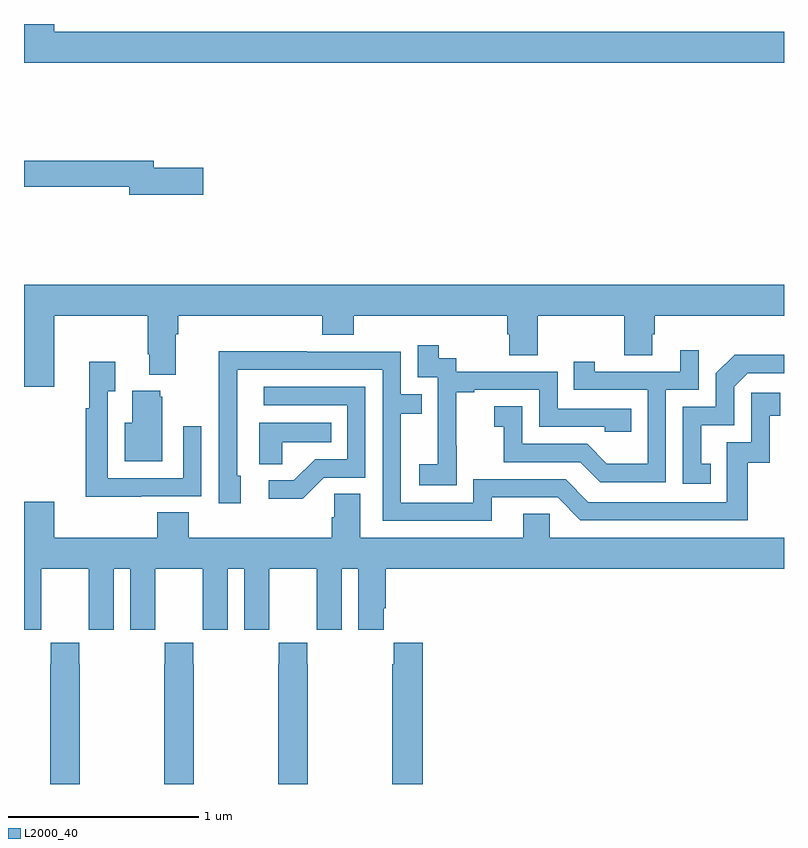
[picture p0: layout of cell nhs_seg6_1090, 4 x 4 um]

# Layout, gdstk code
import gdstk
lib = gdstk.Library(unit=1e-6, precision=1e-09)
def P(c, l, *ps):  # polygons
    for p in ps: c.add(gdstk.Polygon(p, *l))
L2000_40 = (2000, 40)

nhs_seg6_1090 = lib.new_cell('nhs_seg6_1090')
P(nhs_seg6_1090, L2000_40, [(181,987.46),(177.16,987.46),(177.16,987.5),(177,987.5),(177,987.296),(181,987.296)],
  [(177.943,986.744),(177.682,986.744),(177.682,986.78),(177,986.78),(177,986.644),(177.554,986.644),(177.554,986.602),(177.943,986.602)],
  [(177.16,985.964),(177.652,985.964),(177.652,985.762),(177.659,985.762),(177.659,985.655),(177.799,985.655),(177.799,985.868),(177.812,985.868),(177.812,985.964),(178.571,985.964),(178.571,985.865),(178.736,985.865),(178.736,985.964),(179.543,985.964),(179.543,985.866),(179.555,985.866),(179.555,985.756),(179.703,985.756),(179.703,985.964),(180.16,985.964),(180.16,985.756),(180.307,985.756),(180.307,985.866),(180.32,985.866),(180.32,985.964),(181,985.964),(181,986.128),(177,986.128),(177,985.59),(177.16,985.59)],
  [(179.277,985.279),(179.276,985.279),(179.276,985.563),(179.371,985.563),(179.371,985.575),(179.712,985.575),(179.712,985.38),(180.057,985.38),(180.057,985.353),(180.197,985.353),(180.197,985.476),(179.808,985.476),(179.808,985.671),(179.274,985.671),(179.274,985.74),(179.182,985.74),(179.182,985.81),(179.073,985.81),(179.073,985.641),(179.178,985.641),(179.178,985.412),(179.177,985.412),(179.177,985.183),(179.079,985.183),(179.079,985.073),(179.277,985.073)],
  [(180.378,985.575),(180.552,985.575),(180.552,985.783),(180.455,985.783),(180.455,985.671),(180.004,985.671),(180.004,985.723),(179.893,985.723),(179.893,985.575),(180.282,985.575),(180.282,985.186),(180.068,985.186),(179.964,985.29),(179.622,985.29),(179.622,985.489),(179.475,985.489),(179.475,985.379),(179.524,985.379),(179.524,985.194),(179.927,985.194),(180.032,985.089),(180.378,985.089)],
  [(179.461,985.008),(179.808,985.008),(179.928,984.888),(180.808,984.888),(180.808,985.191),(180.926,985.191),(180.926,985.437),(180.979,985.437),(180.979,985.558),(180.828,985.558),(180.828,985.299),(180.699,985.299),(180.699,984.984),(179.97,984.984),(179.85,985.104),(179.364,985.104),(179.364,984.981),(178.983,984.981),(178.983,985.45),(179.093,985.45),(179.093,985.551),(178.983,985.551),(178.983,985.776),(178.487,985.776),(178.487,985.778),(178.024,985.778),(178.024,985.471),(178.026,985.471),(178.026,984.978),(178.141,984.978),(178.141,985.122),(178.122,985.122),(178.122,985.68),(178.887,985.68),(178.887,984.885),(179.461,984.885)],
  [(180.614,985.185),(180.565,985.185),(180.565,985.389),(180.738,985.389),(180.738,985.59),(180.81,985.662),(181,985.662),(181,985.76),(180.74,985.76),(180.642,985.662),(180.642,985.485),(180.468,985.485),(180.468,985.08),(180.614,985.08)],
  [(177.617,985.014),(177.933,985.014),(177.933,985.384),(177.837,985.384),(177.837,985.11),(177.441,985.11),(177.441,985.567),(177.481,985.567),(177.481,985.723),(177.344,985.723),(177.344,985.478),(177.325,985.478),(177.325,985.013),(177.617,985.013)],
  [(178.47,985.005),(178.578,985.113),(178.797,985.113),(178.797,985.59),(178.263,985.59),(178.263,985.494),(178.701,985.494),(178.701,985.209),(178.532,985.209),(178.421,985.098),(178.287,985.098),(178.287,985.001),(178.465,985.001)],
  [(177.727,985.539),(177.716,985.539),(177.716,985.57),(177.569,985.57),(177.569,985.402),(177.53,985.402),(177.53,985.199),(177.727,985.199)],
  [(178.359,985.298),(178.616,985.298),(178.616,985.402),(178.238,985.402),(178.238,985.183),(178.359,985.183)],
  [(178.632,984.905),(178.619,984.905),(178.619,984.796),(177.866,984.796),(177.866,984.929),(177.701,984.929),(177.701,984.796),(177.16,984.796),(177.16,984.985),(177,984.985),(177,984.312),(177.09,984.312),(177.09,984.424),(177.091,984.424),(177.091,984.632),(177.341,984.632),(177.341,984.424),(177.342,984.424),(177.342,984.312),(177.472,984.312),(177.472,984.632),(177.56,984.632),(177.56,984.312),(177.69,984.312),(177.69,984.424),(177.691,984.424),(177.691,984.632),(177.941,984.632),(177.941,984.424),(177.942,984.424),(177.942,984.312),(178.072,984.312),(178.072,984.632),(178.16,984.632),(178.16,984.312),(178.29,984.312),(178.29,984.424),(178.291,984.424),(178.291,984.632),(178.541,984.632),(178.541,984.424),(178.542,984.424),(178.542,984.312),(178.672,984.312),(178.672,984.632),(178.76,984.632),(178.76,984.312),(178.894,984.312),(178.894,984.424),(178.904,984.424),(178.904,984.632),(181,984.632),(181,984.796),(179.766,984.796),(179.766,984.923),(179.627,984.923),(179.627,984.796),(178.771,984.796),(178.771,985.028),(178.632,985.028)],
  [(179.099,984.244),(178.945,984.244),(178.945,984.131),(178.939,984.131),(178.939,983.5),(179.099,983.5)],
  [(178.341,984.131),(178.339,984.131),(178.339,983.5),(178.494,983.5),(178.494,984.131),(178.491,984.131),(178.491,984.244),(178.341,984.244)],
  [(177.894,984.131),(177.891,984.131),(177.891,984.244),(177.741,984.244),(177.741,984.131),(177.739,984.131),(177.739,983.5),(177.894,983.5)],
  [(177.294,984.131),(177.291,984.131),(177.291,984.244),(177.141,984.244),(177.141,984.131),(177.139,984.131),(177.139,983.5),(177.294,983.5)])

lib.write_gds('nhs_seg6_1090.gds')
